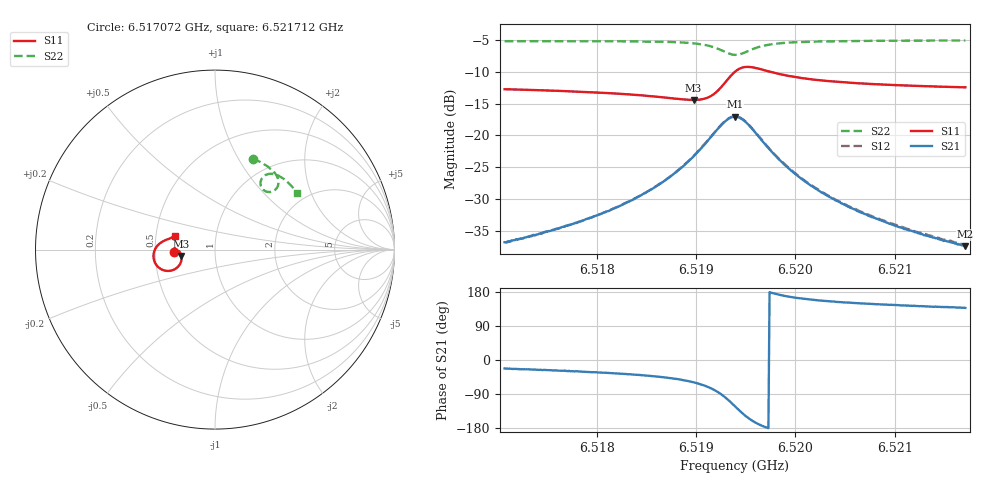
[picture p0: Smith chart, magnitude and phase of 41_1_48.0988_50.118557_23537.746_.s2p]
#  HZ  S  RI  R  50.00
! Rohde & Schwarz Vector Network Analyzer
! Rohde-Schwarz,ZNB20-2Port,1311601062101988,3.16
! Created: UTC 12/23/2023, 3:38:43 AM
! freq[Hz]  re:S11  im:S11  re:S21  im:S21  re:S12  im:S12  re:S22  im:S22
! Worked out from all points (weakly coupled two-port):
!   401 points, 6.517072 GHz to 6.521712 GHz, reference 50 ohm
!   highest |S21| = -17.05 dB at 6.519392 GHz (marker M1); lowest = -37.4 dB at 6.521712 GHz (marker M2)
!   lowest |S11| = -14.4 dB at 6.518974 GHz (marker M3), VSWR 1.47, Z = 34.2 - j2.47 ohm
!   |S11| at or under -10 dB: start of sweep to 6.519392 GHz; 6.519745 GHz to end of sweep
!   |S22| runs from -7.4 to -5.1 dB; largest |S21 - S12| = 0.0042
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6.517072e9  -0.2299 -0.0158  0.0135 -0.00554  0.0135 -0.00519  0.2091 0.5072
6.51742e9  -0.2263 -0.0107  0.0153 -0.0075  0.0155 -0.007  0.2348 0.4963
6.5178492e9  -0.2199 -0.00579  0.0184 -0.011  0.0187 -0.0103  0.2663 0.4799
6.5182436e9  -0.2118 -0.00409  0.0228 -0.0167  0.0234 -0.016  0.2961 0.4612
6.5186264e9  -0.2004 -0.00923  0.0295 -0.0288  0.0307 -0.028  0.3257 0.4357
6.518812e9  -0.1929 -0.0182  0.0336 -0.0406  0.0349 -0.0397  0.3402 0.4175
6.5189744e9  -0.1868 -0.0348  0.0355 -0.0586  0.0376 -0.058  0.3509 0.3946
6.5190788e9  -0.1861 -0.0538  0.0329 -0.0771  0.0354 -0.0767  0.3536 0.3738
6.5191716e9  -0.1937 -0.0785  0.0222 -0.0995  0.0253 -0.0996  0.3482 0.3506
6.5192992e9  -0.2376 -0.1151  -0.0224 -0.1285  -0.019 -0.1301  0.3141 0.3221
6.5193456e9  -0.2659 -0.1189  -0.0485 -0.1288  -0.0452 -0.1311  0.2934 0.3214
6.519392e9  -0.2962 -0.1111  -0.0748 -0.1189  -0.072 -0.1217  0.2734 0.3299
6.5194384e9  -0.3216 -0.0923  -0.0953 -0.0993  -0.0932 -0.1028  0.259 0.3465
6.5194964e9  -0.3393 -0.0601  -0.1077 -0.0696  -0.1065 -0.0732  0.2533 0.3714
6.5195892e9  -0.3398 -0.0137  -0.1029 -0.0297  -0.1029 -0.0328  0.2655 0.4023
6.5196936e9  -0.3236 0.0182  -0.0855 -0.00483  -0.0861 -0.00734  0.2888 0.4183
6.5199256e9  -0.2902 0.0458  -0.0545 0.0119  -0.0554 0.0106  0.3304 0.4204
6.5201692e9  -0.2696 0.0549  -0.0373 0.0143  -0.0381 0.0134  0.3591 0.4093
6.5205404e9  -0.2519 0.062  -0.0242 0.0131  -0.0247 0.0127  0.3901 0.3881
6.5209464e9  -0.2401 0.068  -0.0167 0.0115  -0.0175 0.0112  0.4167 0.364
6.5212132e9  -0.2342 0.0717  -0.0138 0.0106  -0.0142 0.0104  0.4317 0.3479
6.5217121e9  -0.2252 0.0784  -0.00998 0.00917  -0.0105 0.00904  0.457 0.3171
